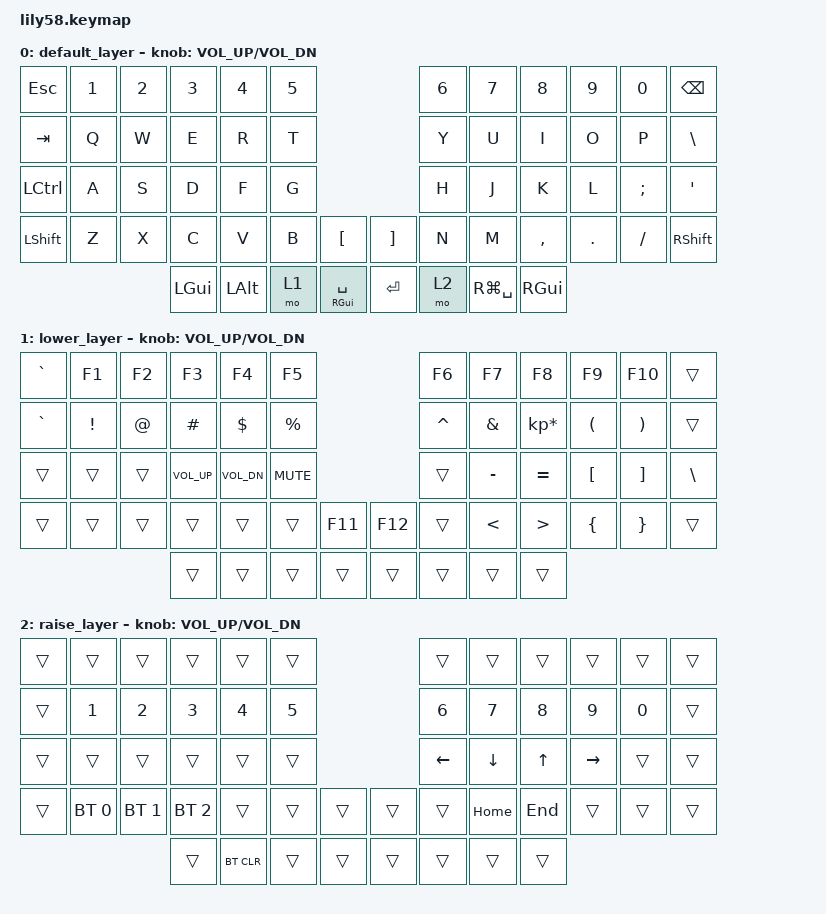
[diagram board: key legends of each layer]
/*
 * Copyright (c) 2020 The ZMK Contributors
 *
 * SPDX-License-Identifier: MIT
 */

#include <behaviors.dtsi>
#include <dt-bindings/zmk/keys.h>
#include <dt-bindings/zmk/bt.h>
#include <dt-bindings/zmk/ext_power.h>

&mt {
    tapping-term-ms = <250>;
};
    
/ {
    keymap {
		compatible = "zmk,keymap";

		default_layer {
// ------------------------------------------------------------------------------------------------------------
// |  ESC  |  1  |  2  |  3   |  4   |  5   |                   |  6   |  7    |  8    |  9   |   0   | BSPC  |
// |  TAB  |  Q  |  W  |  E   |  R   |  T   |                   |  Y   |  U    |  I    |  O   |   P   |   \   |
// |  CTRL |  A  |  S  |  D   |  F   |  G   |                   |  H   |  J    |  K    |  L   |   ;   |   '   |
// | SHIFT |  Z  |  X  |  C   |  V   |  B   |   "["  |  |  "]"  |  N   |  M    |  ,    |  .   |   /   | SHIFT |
//                     | GUI  | ALT  | LOWER|  SPACE |  | ENTER | RAISE|  SPOT | GUI   |
			bindings = <
&kp ESC        &kp N1       &kp N2       &kp N3        &kp N4        &kp N5                           &kp N6 &kp N7        &kp N8        &kp N9       &kp N0          &kp BSPC
&kp TAB        &kp Q        &kp W        &kp E         &kp R         &kp T                            &kp Y  &kp U         &kp I         &kp O        &kp P           &kp BSLH
&kp LCTRL      &kp A        &kp S        &kp D         &kp F         &kp G                            &kp H  &kp J         &kp K         &kp L        &kp SEMI        &kp SQT
&kp LSHFT      &kp Z        &kp X        &kp C         &kp V         &kp B  &kp LBKT        &kp RBKT  &kp N  &kp M         &kp COMMA     &kp DOT      &kp FSLH        &kp RSHFT
                                         &kp LGUI      &kp LALT      &mo 1  &mt RGUI SPACE  &kp RET   &mo 2  &kp RG(SPACE) &kp RGUI
			>;

			sensor-bindings = <&inc_dec_kp C_VOL_UP C_VOL_DN>;
		};

		lower_layer {
// ------------------------------------------------------------------------------------------------------------
// |   `   |  F1 |  F2 |  F3  |  F4  |  F5  |                   |  F6  |  F7   |  F8   |  F9  |  F10  |       | 
// |   `   |  !  |  @  |  #   |  $   |  %   |                   |  ^   |   &   |   *   |  (   |   )   |       |
// |       |     |     | VOLD | VOLU | MUTE |                   |      |   -   |   =   |  [   |   ]   |   \   |
// |       |     |     |      |      |      |  F11   |  |  F12  |      |   <   |   >   |  {   |   }   |       |
//                     |      |      |      |        |  |       |      |       |       |
			bindings = <
&kp GRAVE  &kp F1           &kp F2            &kp F3            &kp F4       &kp F5                       &kp F6    &kp F7    &kp F8          &kp F9    &kp F10   &trans
&kp GRAVE  &kp EXCL         &kp AT            &kp HASH          &kp DOLLAR   &kp PRCNT                    &kp CARET &kp AMPS  &kp KP_MULTIPLY &kp LPAR  &kp RPAR  &trans
&trans     &trans           &trans            &kp C_VOL_UP      &kp C_VOL_DN &kp C_MUTE                   &trans    &kp MINUS &kp EQUAL       &kp LBKT  &kp RBKT  &kp BSLH
&trans     &trans           &trans            &trans            &trans       &trans    &kp F11  &kp F12   &trans    &kp LT    &kp GT          &kp LBRC  &kp RBRC  &trans
                                              &trans            &trans       &trans    &trans   &trans    &trans    &trans    &trans
			>;

			sensor-bindings = <&inc_dec_kp C_VOL_UP C_VOL_DN>;
		};

		raise_layer {
// ------------------------------------------------------------------------------------------------------------
// |       |     |     |      |      |      |                   |      |       |       |      |       |       |
// |       |   1 |   2 |   3  |   4  |   5  |                   |   6  |   7   |   8   |   9  |   0   |       |
// |       |     |     |      |      |      |                   |  LT  |   DN  |  UP   |  RT  |       |       |
// |       | BT1 | BT2 | BT3  |      |      |        |  |       |      | HOME  |  END  |      |       |       |
//                     |      | BTCL |      |        |  |       |      |       |       |
			bindings = <
&trans    &trans        &trans          &trans          &trans      &trans                                &trans      &trans    &trans    &trans        &trans       &trans
&trans    &kp N1        &kp N2          &kp N3          &kp N4      &kp N5                                &kp N6      &kp N7    &kp N8    &kp N9        &kp N0       &trans
&trans    &trans        &trans          &trans          &trans      &trans                                &kp LEFT    &kp DOWN  &kp UP    &kp RIGHT     &trans       &trans
&trans    &bt BT_SEL 0  &bt BT_SEL 1    &bt BT_SEL 2    &trans      &trans   &trans        &trans         &trans      &kp HOME  &kp END   &trans        &trans       &trans
                                        &trans          &bt BT_CLR  &trans   &trans        &trans         &trans      &trans    &trans
			>;

			sensor-bindings = <&inc_dec_kp C_VOL_UP C_VOL_DN>;
		};
	};
};
